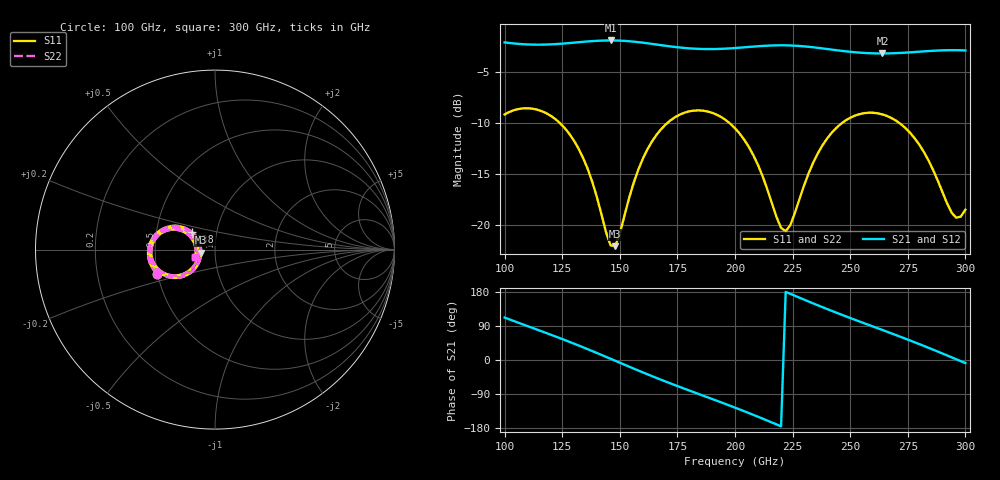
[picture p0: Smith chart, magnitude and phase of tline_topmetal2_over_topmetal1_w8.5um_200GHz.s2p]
#  GHZ S DB R 50
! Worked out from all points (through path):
!   101 points, 100 GHz to 300 GHz, reference 50 ohm
!   highest |S21| = -1.87 dB at 146 GHz (marker M1); lowest = -3.1 dB at 264 GHz (marker M2)
!   group delay of S21, straight-line fit = 6.69 ps
!   lowest |S11| = -22.1 dB at 148 GHz (marker M3), VSWR 1.17, Z = 42.9 - j1.42 ohm
!   |S11| at or under -10 dB: 124 GHz to 170.6 GHz (46.58 GHz wide, 31.6 % of centre); 197.6 GHz to 246.4 GHz (48.79 GHz wide, 22 % of centre); 271.4 GHz to end of sweep
!   |S22| runs from -22.1 to -8.5 dB; largest |S21 - S12| = 9.2e-14
!   S11 on the Smith chart (normalised r, x): 100 GHz: 0.50, -0.15; 138 GHz: 0.76, +0.15; 300 GHz: 0.80, -0.06
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100  -9.15 -157.2  -2.06 112.0  -2.06 112.0  -9.14 -157.1
108  -8.55 -172.2  -2.24 93.8  -2.24 93.8  -8.55 -172.2
118  -9.02 169.4  -2.27 71.3  -2.27 71.3  -9.01 169.4
134  -13.39 144.5  -2.01 33.7  -2.01 33.7  -13.39 144.5
138  -15.75 142.6  -1.94 23.7  -1.94 23.7  -15.75 142.6
146  -22.04 172.8  -1.87 3.2  -1.87 3.2  -22.05 172.8
148  -22.11 -167.9  -1.87 -2.0  -1.87 -2.0  -22.13 -167.8
158  -14.60 -136.2  -2.03 -27.7  -2.03 -27.7  -14.61 -136.0
168  -10.58 -148.4  -2.33 -52.3  -2.33 -52.3  -10.58 -148.3
184  -8.75 -176.0  -2.70 -89.2  -2.70 -89.2  -8.75 -175.8
200  -10.51 157.6  -2.62 -125.7  -2.62 -125.7  -10.51 157.7
212  -15.24 146.8  -2.41 -154.8  -2.41 -154.8  -15.24 146.9
218  -19.24 159.3  -2.35 -170.0  -2.35 -170.0  -19.26 159.4
222  -20.64 -174.9  -2.35 179.8  -2.35 179.8  -20.66 -174.8
234  -13.87 -141.5  -2.54 149.2  -2.54 149.2  -13.87 -141.3
248  -9.74 -158.9  -2.94 115.5  -2.94 115.5  -9.74 -158.7
264  -9.14 175.3  -3.15 79.1  -3.15 79.1  -9.15 175.4
268  -9.51 169.0  -3.13 70.0  -3.13 70.0  -9.51 169.2
278  -11.50 155.2  -3.01 46.7  -3.01 46.7  -11.50 155.4
286  -14.61 150.6  -2.88 27.2  -2.88 27.2  -14.63 150.7
294  -18.80 168.1  -2.82 7.1  -2.82 7.1  -18.85 168.3
300  -18.52 -160.2  -2.85 -8.2  -2.85 -8.2  -18.57 -159.8
